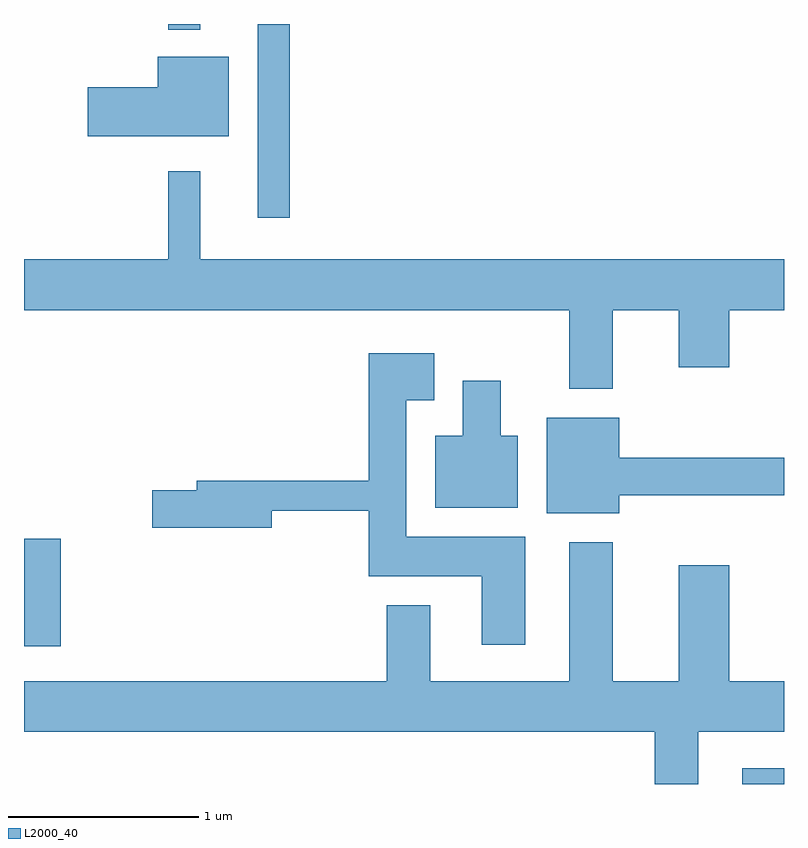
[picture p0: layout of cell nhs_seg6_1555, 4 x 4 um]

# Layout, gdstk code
import gdstk
lib = gdstk.Library(unit=1e-6, precision=1e-09)
def R(c, l, rs):  # rectangles x0, y0, x1, y1
    for r in rs: c.add(gdstk.rectangle(r[:2], r[2:], *l))
def P(c, l, *ps):  # polygons
    for p in ps: c.add(gdstk.Polygon(p, *l))
L2000_40 = (2000, 40)

nhs_seg6_1555 = lib.new_cell('nhs_seg6_1555')
R(nhs_seg6_1555, L2000_40, [(235.391,1594.162,235.611,1594.244), (231.611,1594.886,231.804,1595.454), (232.841,1597.143,233.009,1598.162), (232.371,1598.133,232.539,1598.162)])
P(nhs_seg6_1555, L2000_40, [(232.689,1597.989),(232.316,1597.989),(232.316,1597.829),(231.946,1597.829),(231.946,1597.571),(232.689,1597.571)],
  [(234.709,1596.656),(235.056,1596.656),(235.056,1596.356),(235.324,1596.356),(235.324,1596.656),(235.611,1596.656),(235.611,1596.924),(232.539,1596.924),(232.539,1597.388),(232.371,1597.388),(232.371,1596.924),(231.611,1596.924),(231.611,1596.656),(234.481,1596.656),(234.481,1596.241),(234.709,1596.241)],
  [(234.249,1595.464),(233.624,1595.464),(233.624,1596.181),(233.769,1596.181),(233.769,1596.429),(233.426,1596.429),(233.426,1595.759),(232.521,1595.759),(232.521,1595.709),(232.286,1595.709),(232.286,1595.511),(232.914,1595.511),(232.914,1595.601),(233.426,1595.601),(233.426,1595.256),(234.021,1595.256),(234.021,1594.896),(234.249,1594.896)],
  [(234.209,1595.994),(234.119,1595.994),(234.119,1596.284),(233.921,1596.284),(233.921,1595.994),(233.776,1595.994),(233.776,1595.616),(234.209,1595.616)],
  [(234.744,1595.681),(235.611,1595.681),(235.611,1595.879),(234.744,1595.879),(234.744,1596.089),(234.361,1596.089),(234.361,1595.586),(234.744,1595.586)],
  [(235.159,1594.436),(235.611,1594.436),(235.611,1594.704),(235.324,1594.704),(235.324,1595.314),(235.056,1595.314),(235.056,1594.704),(234.709,1594.704),(234.709,1595.434),(234.481,1595.434),(234.481,1594.704),(233.749,1594.704),(233.749,1595.104),(233.521,1595.104),(233.521,1594.704),(231.611,1594.704),(231.611,1594.436),(234.931,1594.436),(234.931,1594.162),(235.159,1594.162)])

lib.write_gds('nhs_seg6_1555.gds')
